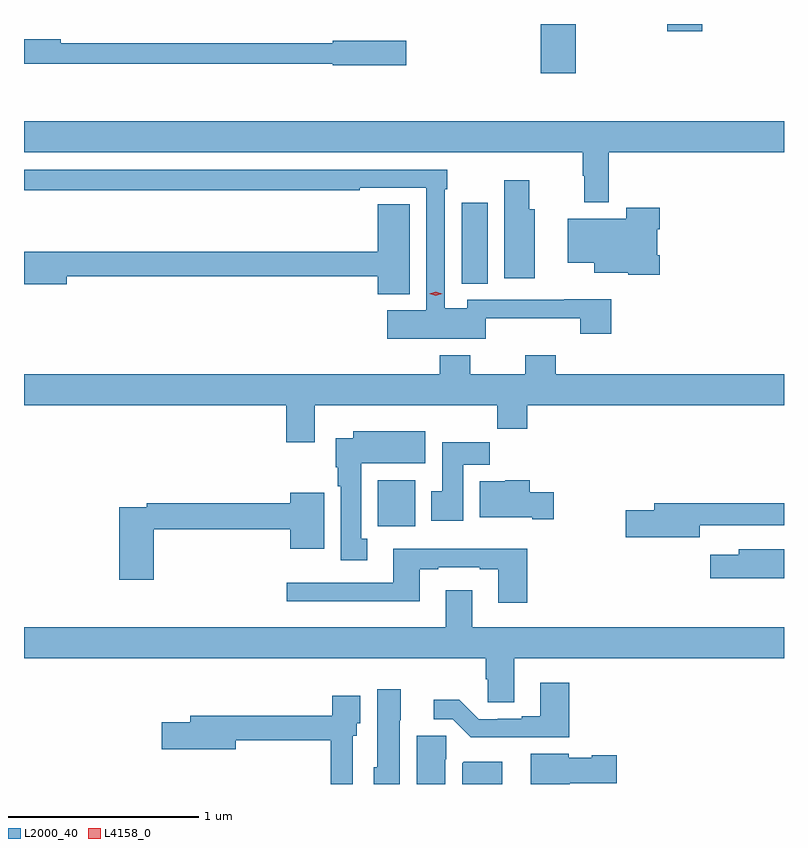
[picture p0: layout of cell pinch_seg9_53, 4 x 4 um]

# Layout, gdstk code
import gdstk
lib = gdstk.Library(unit=1e-6, precision=1e-09)
def R(c, l, rs):  # rectangles x0, y0, x1, y1
    for r in rs: c.add(gdstk.rectangle(r[:2], r[2:], *l))
def P(c, l, *ps):  # polygons
    for p in ps: c.add(gdstk.Polygon(p, *l))
L2000_40 = (2000, 40)
L4158_0 = (4158, 0)

pinch_seg9_53 = lib.new_cell('pinch_seg9_53')
R(pinch_seg9_53, L2000_40, [(914.168,1181.132,914.365,1181.374), (914.609,1182.409,914.746,1182.835), (915.026,1183.515,915.209,1183.775), (915.692,1183.737,915.875,1183.775)])
P(pinch_seg9_53, L2000_40, [(914.317,1183.687),(913.932,1183.687),(913.932,1183.674),(912.5,1183.674),(912.5,1183.694),(912.306,1183.694),(912.306,1183.566),(913.932,1183.566),(913.932,1183.558),(914.317,1183.558)],
  [(915.383,1183.1),(916.306,1183.1),(916.306,1183.264),(912.306,1183.264),(912.306,1183.1),(915.247,1183.1),(915.247,1182.977),(915.255,1182.977),(915.255,1182.837),(915.383,1182.837)],
  [(914.736,1182.227),(915.233,1182.227),(915.233,1182.144),(915.398,1182.144),(915.398,1182.326),(915.149,1182.326),(915.149,1182.324),(914.64,1182.324),(914.64,1182.28),(914.52,1182.28),(914.52,1182.905),(914.533,1182.905),(914.533,1183.008),(912.306,1183.008),(912.306,1182.9),(914.072,1182.9),(914.072,1182.912),(914.424,1182.912),(914.424,1182.268),(914.217,1182.268),(914.217,1182.119),(914.736,1182.119)],
  [(914.995,1182.799),(914.964,1182.799),(914.964,1182.952),(914.834,1182.952),(914.834,1182.438),(914.995,1182.438)],
  [(914.335,1182.827),(914.168,1182.827),(914.168,1182.577),(912.306,1182.577),(912.306,1182.406),(912.532,1182.406),(912.532,1182.448),(914.168,1182.448),(914.168,1182.353),(914.335,1182.353)],
  [(915.653,1182.559),(915.64,1182.559),(915.64,1182.695),(915.653,1182.695),(915.653,1182.808),(915.475,1182.808),(915.475,1182.751),(915.167,1182.751),(915.167,1182.518),(915.308,1182.518),(915.308,1182.467),(915.486,1182.467),(915.486,1182.455),(915.653,1182.455)],
  [(913.837,1181.768),(914.797,1181.768),(914.797,1181.644),(914.954,1181.644),(914.954,1181.768),(916.306,1181.768),(916.306,1181.932),(915.104,1181.932),(915.104,1182.031),(914.944,1182.031),(914.944,1181.932),(914.655,1181.932),(914.655,1182.031),(914.495,1182.031),(914.495,1181.932),(912.306,1181.932),(912.306,1181.768),(913.685,1181.768),(913.685,1181.574),(913.837,1181.574)],
  [(914.113,1181.066),(914.08,1181.066),(914.08,1181.462),(914.419,1181.462),(914.419,1181.632),(914.039,1181.632),(914.039,1181.596),(913.946,1181.596),(913.946,1181.442),(913.958,1181.442),(913.958,1181.342),(913.973,1181.342),(913.973,1180.953),(914.113,1180.953)],
  [(914.617,1181.456),(914.756,1181.456),(914.756,1181.574),(914.507,1181.574),(914.507,1181.316),(914.45,1181.316),(914.45,1181.16),(914.617,1181.16)],
  [(915.094,1181.31),(914.969,1181.31),(914.969,1181.374),(914.838,1181.374),(914.838,1181.368),(914.705,1181.368),(914.705,1181.18),(914.981,1181.18),(914.981,1181.168),(915.094,1181.168)],
  [(912.989,1181.116),(913.706,1181.116),(913.706,1181.012),(913.885,1181.012),(913.885,1181.308),(913.706,1181.308),(913.706,1181.252),(912.952,1181.252),(912.952,1181.232),(912.806,1181.232),(912.806,1180.851),(912.989,1180.851)],
  [(915.862,1181.136),(916.306,1181.136),(916.306,1181.252),(915.623,1181.252),(915.623,1181.216),(915.474,1181.216),(915.474,1181.074),(915.862,1181.074)],
  [(914.954,1181.014),(914.249,1181.014),(914.249,1180.833),(913.689,1180.833),(913.689,1180.736),(914.389,1180.736),(914.389,1180.905),(914.485,1180.905),(914.485,1180.917),(914.705,1180.917),(914.705,1180.905),(914.801,1180.905),(914.801,1180.728),(914.954,1180.728)],
  [(916.306,1181.01),(916.067,1181.01),(916.067,1180.981),(915.918,1180.981),(915.918,1180.859),(916.306,1180.859)],
  [(914.887,1180.436),(916.306,1180.436),(916.306,1180.6),(914.665,1180.6),(914.665,1180.795),(914.525,1180.795),(914.525,1180.6),(912.306,1180.6),(912.306,1180.436),(914.735,1180.436),(914.735,1180.326),(914.748,1180.326),(914.748,1180.204),(914.887,1180.204)],
  [(915.176,1180.309),(915.023,1180.309),(915.023,1180.132),(914.927,1180.132),(914.927,1180.119),(914.8,1180.119),(914.8,1180.116),(914.7,1180.116),(914.598,1180.219),(914.463,1180.219),(914.463,1180.116),(914.562,1180.116),(914.657,1180.022),(915.176,1180.022)],
  [(914.284,1180.11),(914.29,1180.11),(914.29,1180.273),(914.165,1180.273),(914.165,1179.864),(914.147,1179.864),(914.147,1179.775),(914.284,1179.775)],
  [(914.037,1180.029),(914.056,1180.029),(914.056,1180.095),(914.077,1180.095),(914.077,1180.24),(913.928,1180.24),(913.928,1180.135),(913.181,1180.135),(913.181,1180.101),(913.032,1180.101),(913.032,1179.959),(913.42,1179.959),(913.42,1180.006),(913.921,1180.006),(913.921,1179.775),(914.037,1179.775)],
  [(914.524,1179.906),(914.528,1179.906),(914.528,1180.029),(914.372,1180.029),(914.372,1179.775),(914.524,1179.775)],
  [(915.178,1179.779),(915.427,1179.779),(915.427,1179.926),(915.294,1179.926),(915.294,1179.913),(915.174,1179.913),(915.174,1179.934),(914.972,1179.934),(914.972,1179.775),(915.178,1179.775)],
  [(914.824,1179.892),(914.62,1179.892),(914.612,1179.884),(914.612,1179.775),(914.824,1179.775)])
P(pinch_seg9_53, L4158_0, [(914.473,1182.346),(914.438,1182.355),(914.438,1182.356),(914.438,1182.356),(914.473,1182.366),(914.507,1182.356),(914.508,1182.356),(914.507,1182.355)])

lib.write_gds('pinch_seg9_53.gds')
